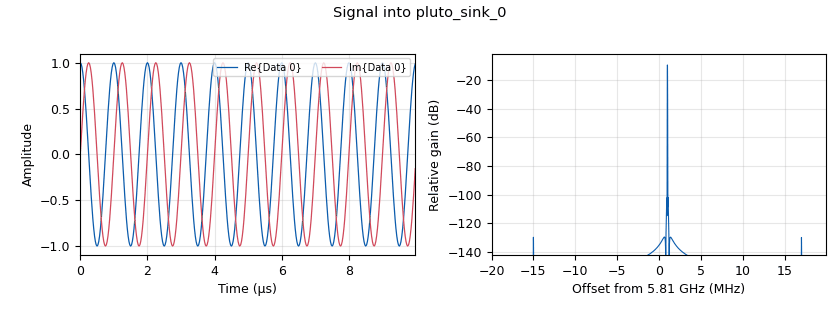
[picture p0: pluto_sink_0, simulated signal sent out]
<?xml version='1.0' encoding='utf-8'?>
<?grc format='1' created='3.7.10'?>
<flow_graph>
<block>
<key>options</key>
<param><key>id</key><value>top_block</value></param>
<param><key>generate_options</key><value>qt_gui</value></param>
</block>
<block>
<key>variable_qtgui_range</key>
<param><key>id</key><value>Center_freq</value></param>
<param><key>value</key><value>10500</value></param>
<param><key>label</key><value>Signal Source (MHz)</value></param>
<param><key>orient</key><value>Qt.Horizontal</value></param>
<param><key>start</key><value>10000</value></param>
<param><key>step</key><value>5</value></param>
<param><key>stop</key><value>11000</value></param>
</block>
<block>
<key>variable_qtgui_range</key>
<param><key>id</key><value>Pluto_Gain</value></param>
<param><key>value</key><value>20</value></param>
<param><key>orient</key><value>Qt.Horizontal</value></param>
<param><key>start</key><value>10</value></param>
<param><key>step</key><value>1</value></param>
<param><key>stop</key><value>60</value></param>
<param><key>rangeType</key><value>int</value></param>
</block>
<block>
<key>variable</key>
<param><key>id</key><value>TX_freq</value></param>
<param><key>value</key><value>5.81</value></param>
</block>
<block>
<key>variable</key>
<param><key>id</key><value>samp_rate</value></param>
<param><key>value</key><value>40000000</value></param>
</block>
<block>
<key>epy_block</key>
<param><key>id</key><value>ADF5356_Freq</value></param>
<param><key>_source_code</key><value>"""
Embedded Python Blocks:

Each time this file is saved, GRC will instantiate the first class it finds
to get ports and parameters of your block. The arguments to __init__  will
be the parameters. All of them are required to have default values!
"""

import numpy as np
from gnuradio import gr
import time
import spidev
import RPi.GPIO as GPIO

class blk(gr.sync_block):  # other base classes are basic_block, decim_block, interp_block
    """Set ADF5356 Freq Using QT GUI variables"""

    def __init__(self, Signal=10.5):  # only default arguments here
        """arguments to this function show up as parameters in GRC"""
        gr.sync_block.__init__(
            self,
            name='ADF5356_Freq',   # this name will show up in GRC
            in_sig=[],             # normally this is [np.complex64] or something.  But we don't need any inputs for this block.
            out_sig=[np.complex64]      # We really don't need any outputs, but it complains if I leave both inputs and outputs as null.
        )
        self.Signal = Signal
        self.Change = 1
        self.current_freq = 0

        # It's best to toggle ADF5356 enable prior to startup.  Just to reset everything.
        GPIO.setwarnings(False)
        GPIO.PUD_UP
        GPIO.setmode(GPIO.BOARD)   # use the pin numbers (1-40) on the Rasp Pi header
        GPIO.setup(11, GPIO.OUT)   # set pin 11 (which BCM calls "GPIO 17") to an output
        GPIO.output(11, GPIO.LOW)
        time.sleep(1)
        GPIO.output(11, GPIO.HIGH)
        time.sleep(1)
        
        bus = 0      # We only have SPI bus 0 available to us on the Pi, so this is always 0
        device = 1   # Device is the chip select pin. "0" is being used by the ADAR1000, so this need to be "1" for the ADF5356's chip select
        self.spi = spidev.SpiDev()    # Enable SPI
        self.spi.open(bus, device)    # Open a connection to a specific bus and device (chip select pin)
        self.spi.max_speed_hz = 500000   # Set SPI speed
        self.spi.mode = 0                # Set SPI mode (ADF5356 is mode 0)
        
    def work(self, input_items, output_items):
        #output_items[0][:] = input_items[0] * 1
        time.sleep(2)   # we only need to check this sporadically.  So this does the check every 2 sec (instead of checking it repeatedly as fast possible!)
        def ADF5356_init():   # this function initializes the ADF5356.  It's overkill to call it every time we change freq, but that makes my setup more robust.
            self.spi.xfer2([0x00, 0x00, 0x00, 0x0D])   # R13 0x0D
            self.spi.xfer2([0x00, 0x00, 0x15, 0xFC])   # R12 0x15FC
            self.spi.xfer2([0x00, 0x61, 0x20, 0x0B])   # R11 0x61200B
            self.spi.xfer2([0x00, 0xC0, 0x26, 0xBA])   # R10 0xC026BA
            self.spi.xfer2([0x27, 0x19, 0xFC, 0xC9])   # R9  0x2719FCC9
            self.spi.xfer2([0x15, 0x59, 0x65, 0x68])   # R8  0x15596568
            self.spi.xfer2([0x06, 0x00, 0x00, 0xE7])   # R7  0x60000E7
            self.spi.xfer2([0x35, 0x03, 0x00, 0x06])   # R6  0x35030006
            self.spi.xfer2([0x00, 0x80, 0x00, 0x25])   # R5  0x800025
            self.spi.xfer2([0x32, 0x00, 0x8B, 0x84])   # R4  0x32008B84
            self.spi.xfer2([0x00, 0x00, 0x00, 0x03])   # R3  0x3
            print("ADF5356_init function")
            time.sleep(1)
            
        if self.current_freq != self.Signal:   # if the freq has changed then redo the init function and program the new freq
            self.Change = 1
        else:
            self.Change = 0

        if self.Change == 1:
            self.current_freq = self.Signal            
            ADF5356_init()
            for i in range(2):   # write the ADF5356 registers twice, just for error redundancy
                # Write registers to set freq to 9.5 GHz
                if self.Signal==9.5:
                    self.spi.xfer2([0x00, 0x08, 0x00, 0x32]) # R2     0x80032
                    self.spi.xfer2([0x04, 0xFA, 0xAA, 0xA1]) # R1     0x4FAAAA1
                    time.sleep(0.001)   # wait for ADC to settle
                    self.spi.xfer2([0x00, 0x20, 0x04, 0xD0]) # R0     0x2004D0
                    print("ADF5356 is set to 9.5 GHz")

                # Write registers to set freq to 10 GHz
                if self.Signal==10:
                    self.spi.xfer2([0x00, 0x04, 0x00, 0x32]) # R2  0x40032
                    self.spi.xfer2([0x06, 0x15, 0x55, 0x51]) # R1  0x6155551
                    time.sleep(0.001)   # wait for ADC to settle
                    self.spi.xfer2([0x00, 0x30, 0x05, 0x10]) # R0  0x300510
                    print("ADF5356 is set to 10 GHz")

                # Write registers to set freq to 10.5 GHz
                if self.Signal==10.5:
                    self.spi.xfer2([0x00, 0x00, 0x00, 0x12]) # R2     0x12
                    self.spi.xfer2([0x07, 0x30, 0x00, 0x01]) # R1     0x7300001
                    time.sleep(0.001)   # wait for ADC to settle
                    self.spi.xfer2([0x00, 0x20, 0x05, 0x50]) # R0     0x200550
                    print("ADF5356 is set to 10.5 GHz")

                # Write registers to set freq to 11 GHz
                if self.Signal==11:
                    self.spi.xfer2([0x00, 0x08, 0x00, 0x32]) # R2     0x80032
                    self.spi.xfer2([0x08, 0x4A, 0xAA, 0xA1]) # R1     0x84AAAA1
                    time.sleep(0.001)   # wait for ADC to settle
                    self.spi.xfer2([0x00, 0x20, 0x05, 0x90]) # R0     0x200590
                    print("ADF5356 is set to 11 GHz")

                # Power down the ADF5356
                if self.Signal==11.5:
                    self.spi.xfer2([0x00, 0x00, 0x00, 0x44])
                    print("ADF5356 is shutdown")
                    time.sleep(0.5)
                    
        return len(output_items[0])






</value></param>
<param><key>comment</key><value>Set ADF5356 Frequency
Based on Center_freq</value></param>
<param><key>_enabled</key><value>0</value></param>
<param><key>Signal</key><value>Center_freq/1000</value></param>
</block>
<block>
<key>analog_sig_source_x</key>
<param><key>id</key><value>analog_sig_source_x_1</value></param>
<param><key>amp</key><value>1</value></param>
<param><key>freq</key><value>1000000</value></param>
<param><key>offset</key><value>0</value></param>
<param><key>type</key><value>complex</value></param>
<param><key>samp_rate</key><value>samp_rate</value></param>
<param><key>waveform</key><value>analog.GR_COS_WAVE</value></param>
</block>
<block>
<key>blocks_null_sink</key>
<param><key>id</key><value>blocks_null_sink_0</value></param>
<param><key>bus_conns</key><value>[[0,],]</value></param>
<param><key>_enabled</key><value>0</value></param>
<param><key>type</key><value>complex</value></param>
</block>
<block>
<key>epy_module</key>
<param><key>id</key><value>epy_module_0</value></param>
<param><key>source_code</key><value># this module will be imported in the into your flowgraph
# You can learn more about SPI and Rasp Pi at https://learn.sparkfun.com/tutorials/raspberry-pi-spi-and-i2c-tutorial/all#spi-on-pi

import time
import spidev

# We only have SPI bus 0 available to us on the Pi
bus = 0

#Device is the chip select pin. Set to 0 or 1, depending on the connections
device = 0

# Enable SPI
spi = spidev.SpiDev()

# Open a connection to a specific bus and device (chip select pin)
spi.open(bus, device)

# Set SPI speed and mode
spi.max_speed_hz = 500000
spi.mode = 0

# Rasp Pi Broadcom chip can only do 8 bit SPI writes.
# So the 24 bit SPI writes of the ADAR1000 need to be broken
# into 3 chunks.  Use the xfer2 command to keep CS low, until all 4 are there.

ADDR = 0x20

# Initialize the ADAR1000
spi.xfer2([ADDR, 0x00, 0x81])  # reset the device
spi.xfer2([ADDR, 0x00, 0x18])  # Sets SDO  pin to active (4 wire SPI)
spi.xfer2([ADDR+0x04, 0x00, 0x55])  # Trims LDO to 1.8V
spi.xfer2([ADDR, 0x38, 0x60])  # Bypasses beam and bias RAM (use SPI for gain/phase)
spi.xfer2([ADDR, 0x2E, 0x7F])  # Enables all 4 Rx channels, LNA, VGA, and Vector Mod
spi.xfer2([ADDR, 0x34, 0x08])  # Sets LNA bias to middle of its range
spi.xfer2([ADDR, 0x35, 0x16])  # Sets VGA bias to [0010] and vector mod bias to [110]
spi.xfer2([ADDR, 0x31, 0x20])  # Enables the whole Rx
time.sleep(0.1)

# Write registers to set Rx1-4 to 45 deg and Max Gain
spi.xfer2([ADDR, 0x10, 0xFF])  # Sets Rx1 to max gain
spi.xfer2([ADDR, 0x14, 0x36])  # Sets Rx1 I vector to positive and [10110]
spi.xfer2([ADDR, 0x15, 0x36])  # Sets Rx1 Q vector to positive and [10110]
spi.xfer2([ADDR, 0x11, 0xFF])  # Sets Rx2 to max gain
spi.xfer2([ADDR, 0x16, 0x36])  # Sets Rx2 I vector to positive and [10110]
spi.xfer2([ADDR, 0x17, 0x36])  # Sets Rx2 Q vector to positive and [10110]
spi.xfer2([ADDR, 0x12, 0xFF])  # Sets Rx3 to max gain
spi.xfer2([ADDR, 0x18, 0x36])  # Sets Rx3 I vector to positive and [10110]
spi.xfer2([ADDR, 0x19, 0x36])  # Sets Rx3 Q vector to positive and [10110]
spi.xfer2([ADDR, 0x13, 0xFF])  # Sets Rx4 to max gain
spi.xfer2([ADDR, 0x1A, 0x36])  # Sets Rx4 I vector to positive and [10110]
spi.xfer2([ADDR, 0x1B, 0x36])  # Sets Rx4 Q vector to positive and [10110]
  
spi.xfer2([ADDR, 0x28, 0x01])  # Loads Rx vectors from SPI.
time.sleep(0.1)

# Power down the ADAR1000
#spi.xfer2([ADDR, 0x00, 0x81])  # reset the device
#spi.xfer2([ADDR, 0x00, 0x18])  # Sets SDO  pin to active (4 wire SPI)
#spi.xfer2([ADDR+0x04, 0x00, 0x55])  # Trims LDO to 1.8V

</value></param>
<param><key>comment</key><value>Initialize the ADAR1000</value></param>
</block>
<block>
<key>pluto_sink</key>
<param><key>id</key><value>pluto_sink_0</value></param>
<param><key>attenuation</key><value>3</value></param>
<param><key>buffer_size</key><value>int(2**18)</value></param>
<param><key>cyclic</key><value>True</value></param>
<param><key>auto_filter</key><value>True</value></param>
<param><key>filter</key><value></value></param>
<param><key>uri</key><value>192.168.2.1</value></param>
<param><key>frequency</key><value>int(TX_freq*1000000000)</value></param>
<param><key>bandwidth</key><value>int(300000)</value></param>
<param><key>samplerate</key><value>int(samp_rate)</value></param>
</block>
<block>
<key>pluto_source</key>
<param><key>id</key><value>pluto_source_0</value></param>
<param><key>bbdc</key><value>True</value></param>
<param><key>buffer_size</key><value>int(32*256)</value></param>
<param><key>uri</key><value>192.168.2.1</value></param>
<param><key>auto_filter</key><value>True</value></param>
<param><key>filter</key><value></value></param>
<param><key>gain</key><value>"manual"</value></param>
<param><key>frequency</key><value>int((Center_freq-TX_freq*1000)*1000000)</value></param>
<param><key>manual_gain</key><value>int(Pluto_Gain)</value></param>
<param><key>quadrature</key><value>False</value></param>
<param><key>rfdc</key><value>True</value></param>
<param><key>bandwidth</key><value>int(samp_rate/2)</value></param>
<param><key>samplerate</key><value>int(samp_rate)</value></param>
</block>
<block>
<key>qtgui_sink_x</key>
<param><key>id</key><value>qtgui_sink_x_0</value></param>
<param><key>bw</key><value>samp_rate</value></param>
<param><key>fc</key><value>int(Center_freq*1000000)</value></param>
<param><key>freqchangevar</key><value>None</value></param>
<param><key>fftsize</key><value>1024</value></param>
<param><key>plotwaterfall</key><value>False</value></param>
<param><key>showports</key><value>True</value></param>
<param><key>showrf</key><value>True</value></param>
<param><key>type</key><value>complex</value></param>
<param><key>wintype</key><value>firdes.WIN_BLACKMAN_hARRIS</value></param>
</block>
<connection><source_block_id>ADF5356_Freq</source_block_id><sink_block_id>blocks_null_sink_0</sink_block_id><source_key>0</source_key><sink_key>0</sink_key></connection>
<connection><source_block_id>analog_sig_source_x_1</source_block_id><sink_block_id>pluto_sink_0</sink_block_id><source_key>0</source_key><sink_key>0</sink_key></connection>
<connection><source_block_id>pluto_source_0</source_block_id><sink_block_id>qtgui_sink_x_0</sink_block_id><source_key>0</source_key><sink_key>0</sink_key></connection>
</flow_graph>
